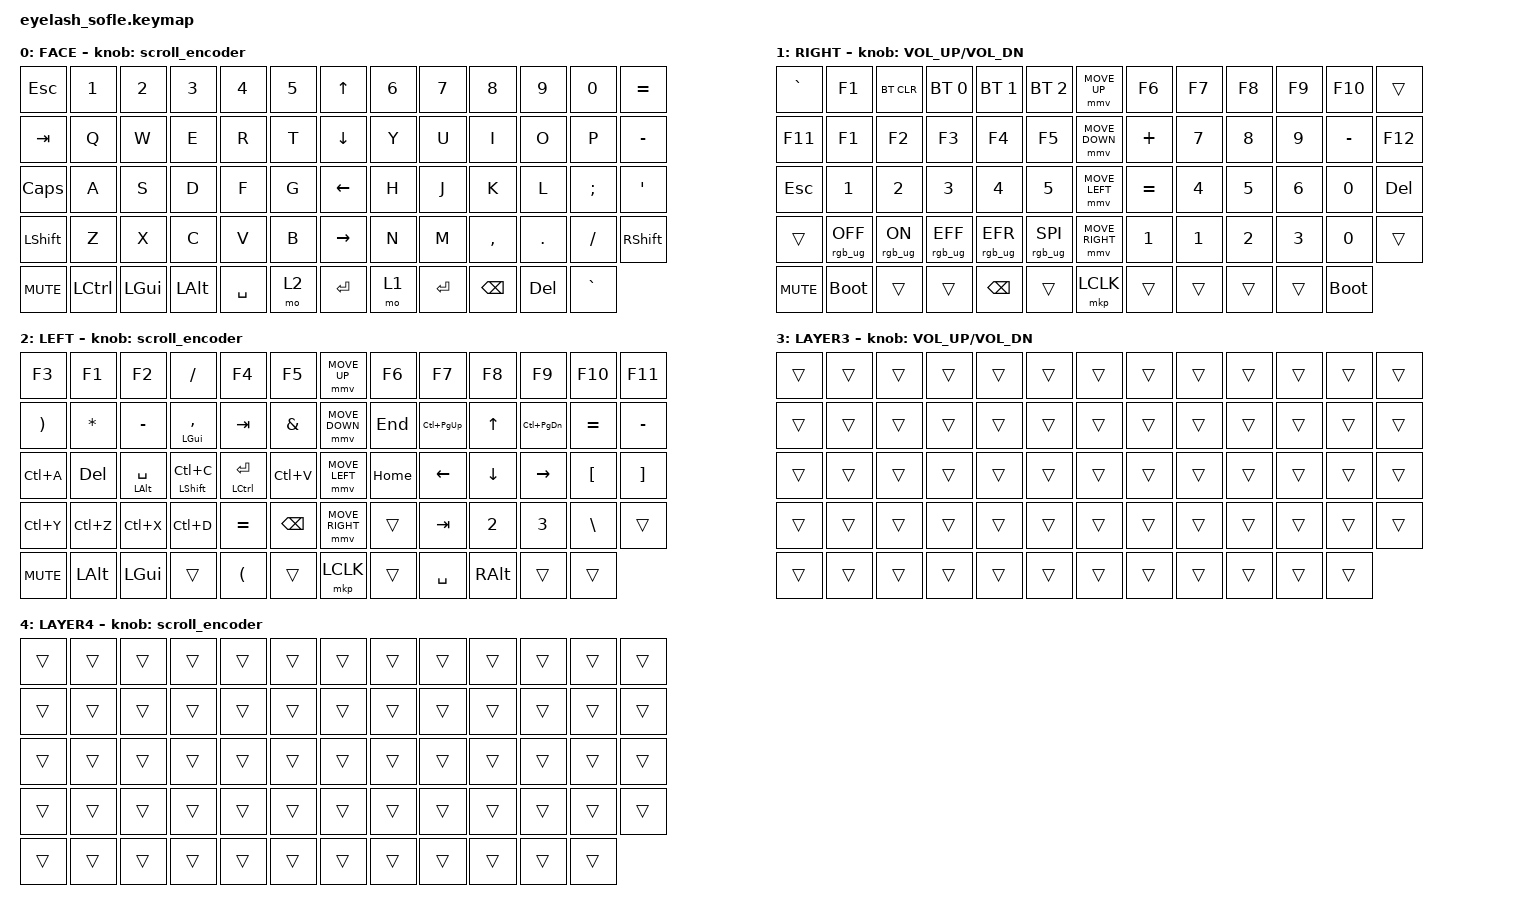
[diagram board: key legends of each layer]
#define ZMK_POINTING_DEFAULT_MOVE_VAL 1200  // 600
#define ZMK_POINTING_DEFAULT_SCRL_VAL 25   // 10

#include <input/processors.dtsi>
#include <zephyr/dt-bindings/input/input-event-codes.h>
#include <behaviors.dtsi>
#include <dt-bindings/zmk/bt.h>
#include <dt-bindings/zmk/keys.h>
#include <dt-bindings/zmk/outputs.h>
#include <dt-bindings/zmk/pointing.h>
#include <dt-bindings/zmk/rgb.h>

&mmv_input_listener { input-processors = <&zip_xy_scaler 2 1>; };

&msc_input_listener { input-processors = <&zip_scroll_scaler 2 1>; };

&msc {
    acceleration-exponent = <1>;      // 0
    time-to-max-speed-ms = <100>;       // 300
    delay-ms = <0>;                   // 0
};

&mmv {
    time-to-max-speed-ms = <500>;
    acceleration-exponent = <1>;
    trigger-period-ms = <16>;
};

&soft_off { hold-time-ms = <2000>; };

/ {
    scroll_encoder: scroll_encoder {
        compatible = "zmk,behavior-sensor-rotate";
        #sensor-binding-cells = <0>;
        bindings = <&msc SCRL_DOWN>, <&msc SCRL_UP>;

        tap-ms = <100>;
    };

    behaviors {
    };

    combos {
        compatible = "zmk,combos";

        softoff {
            bindings = <&soft_off>;
            key-positions = <14 28 40>;
        };
    };

    macros {
        SHIFT_MCLK: SHIFT_MCLK {
            compatible = "zmk,behavior-macro";
            #binding-cells = <0>;
            bindings =
                <&macro_press>,
                <&kp LEFT_SHIFT>,
                <&macro_press>,
                <&mkp MB3>,
                <&macro_pause_for_release>,
                <&macro_release>,
                <&kp LEFT_SHIFT &mkp MB3>;

            label = "SHIFT_MCLK";
        };
    };

    keymap {
        compatible = "zmk,keymap";

        layer0 {
            bindings = <
&kp ESC     &kp N1     &kp N2        &kp N3          &kp N4      &kp N5       &kp UP_ARROW     &kp N6     &kp N7         &kp N8          &kp N9           &kp N0      &kp EQUAL
&kp TAB     &kp Q      &kp W         &kp E           &kp R       &kp T        &kp DOWN_ARROW   &kp Y      &kp U          &kp I           &kp O            &kp P       &kp MINUS
&kp CAPS    &kp A      &kp S         &kp D           &kp F       &kp G        &kp LEFT_ARROW   &kp H      &kp J          &kp K           &kp L            &kp SEMI    &kp APOS
&kp LSHFT   &kp Z      &kp X         &kp C           &kp V       &kp B        &kp RIGHT_ARROW  &kp N      &kp M          &kp COMMA       &kp DOT          &kp FSLH    &kp RIGHT_SHIFT
&kp C_MUTE  &kp LCTRL  &kp LEFT_GUI  &kp LEFT_ALT    &kp SPACE   &mo 2        &kp ENTER        &mo 1      &kp ENTER      &kp BACKSPACE   &kp DELETE       &kp GRAVE
            >;

            sensor-bindings = <&scroll_encoder>;
            display-name = "FACE";
        };

        layer_1 {
            bindings = <
&kp GRAVE   &kp F1           &bt BT_CLR      &bt BT_SEL 0          &bt BT_SEL 1           &bt BT_SEL 2       &mmv MOVE_UP     &kp F6             &kp F7         &kp F8      &kp F9     &kp F10       &trans
&kp F11     &kp F1           &kp F2          &kp F3                &kp F4                 &kp F5             &mmv MOVE_DOWN   &kp PLUS           &kp N7         &kp N8      &kp N9     &kp MINUS     &kp F12
&kp ESC     &kp N1           &kp N2          &kp N3                &kp N4                 &kp N5             &mmv MOVE_LEFT   &kp EQUAL          &kp N4         &kp N5      &kp N6     &kp N0        &kp DELETE
&trans      &rgb_ug RGB_OFF  &rgb_ug RGB_ON  &rgb_ug RGB_EFF       &rgb_ug RGB_EFR        &rgb_ug RGB_SPI    &mmv MOVE_RIGHT  &kp N1             &kp N1         &kp N2      &kp N3     &kp N0        &trans
&kp C_MUTE  &bootloader      &trans          &trans                &kp BACKSPACE          &trans             &mkp LCLK        &trans             &trans         &trans      &trans     &bootloader
            >;

             sensor-bindings = <&inc_dec_kp C_VOLUME_UP C_VOL_DN>;
            display-name = "RIGHT";
        };

       layer_2 {
            bindings = <
&kp F3              &kp F1            &kp F2           &kp FSLH              &kp F4             &kp F5         &mmv MOVE_UP         &kp F6       &kp F7           &kp F8             &kp F9         &kp F10        &kp F11
&kp RPAR            &kp ASTRK         &kp MINUS        &mt LEFT_GUI COMMA    &kp TAB            &kp AMPS       &mmv MOVE_DOWN       &kp END      &kp LC(PG_UP)    &kp UP             &kp LC(PG_DN)  &kp EQUAL      &kp MINUS
&kp LC(A)           &kp DELETE        &mt LALT SPACE   &mt LSHFT LC(C)       &mt LCTRL ENTER    &kp LC(V)      &mmv MOVE_LEFT       &kp HOME     &kp LEFT         &kp DOWN           &kp RIGHT      &kp LBKT       &kp RBKT
&kp LC(Y)           &kp LC(Z)         &kp LC(X)        &kp LC(D)             &kp EQUAL          &kp BACKSPACE  &mmv MOVE_RIGHT      &trans       &kp TAB          &kp N2             &kp N3         &kp BSLH       &trans
&kp C_MUTE          &kp LEFT_ALT      &kp LEFT_GUI     &trans                &kp LPAR           &trans         &mkp LCLK            &trans       &kp SPACE        &kp RIGHT_ALT      &trans         &trans
            >;

            display-name = "LEFT";
            sensor-bindings = <&scroll_encoder>;
        };

        layer_3 {
            bindings = <
&trans  &trans  &trans  &trans  &trans  &trans    &trans  &trans  &trans  &trans  &trans  &trans  &trans
&trans  &trans  &trans  &trans  &trans  &trans    &trans  &trans  &trans  &trans  &trans  &trans  &trans
&trans  &trans  &trans  &trans  &trans  &trans    &trans  &trans  &trans  &trans  &trans  &trans  &trans
&trans  &trans  &trans  &trans  &trans  &trans    &trans  &trans  &trans  &trans  &trans  &trans  &trans
&trans  &trans  &trans  &trans  &trans  &trans    &trans  &trans  &trans  &trans  &trans  &trans
            >;

            display-name = "LAYER3";
            sensor-bindings = <&inc_dec_kp C_VOLUME_UP C_VOL_DN>;
        };

        layer_4 {
            bindings = <
&trans  &trans  &trans  &trans  &trans  &trans    &trans  &trans  &trans  &trans  &trans  &trans  &trans
&trans  &trans  &trans  &trans  &trans  &trans    &trans  &trans  &trans  &trans  &trans  &trans  &trans
&trans  &trans  &trans  &trans  &trans  &trans    &trans  &trans  &trans  &trans  &trans  &trans  &trans
&trans  &trans  &trans  &trans  &trans  &trans    &trans  &trans  &trans  &trans  &trans  &trans  &trans
&trans  &trans  &trans  &trans  &trans  &trans    &trans  &trans  &trans  &trans  &trans  &trans
            >;

            display-name = "LAYER4";
            sensor-bindings = <&scroll_encoder>;
        };
    };
};
